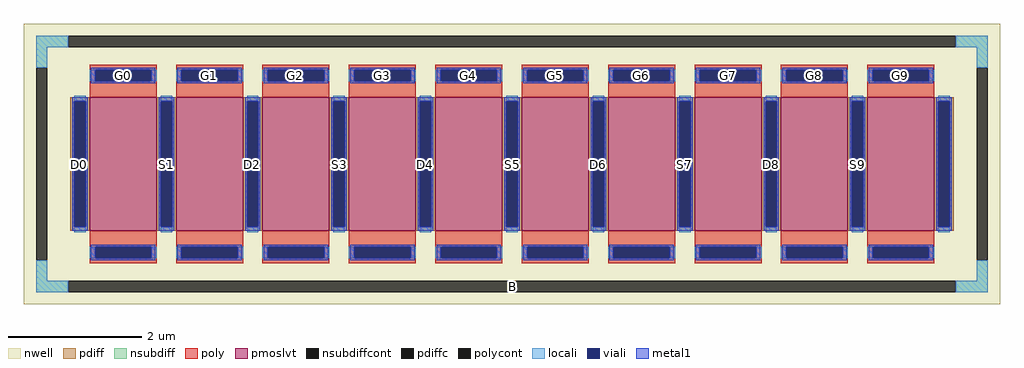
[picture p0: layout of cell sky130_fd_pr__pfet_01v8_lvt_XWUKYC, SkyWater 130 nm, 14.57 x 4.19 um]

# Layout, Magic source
magic
tech sky130A
magscale 1 2
<< nwell >>
rect -1457 -419 1457 419
<< pmoslvt >>
rect -1261 -200 -1061 200
rect -1003 -200 -803 200
rect -745 -200 -545 200
rect -487 -200 -287 200
rect -229 -200 -29 200
rect 29 -200 229 200
rect 287 -200 487 200
rect 545 -200 745 200
rect 803 -200 1003 200
rect 1061 -200 1261 200
<< pdiff >>
rect -1319 188 -1261 200
rect -1319 -188 -1307 188
rect -1273 -188 -1261 188
rect -1319 -200 -1261 -188
rect -1061 188 -1003 200
rect -1061 -188 -1049 188
rect -1015 -188 -1003 188
rect -1061 -200 -1003 -188
rect -803 188 -745 200
rect -803 -188 -791 188
rect -757 -188 -745 188
rect -803 -200 -745 -188
rect -545 188 -487 200
rect -545 -188 -533 188
rect -499 -188 -487 188
rect -545 -200 -487 -188
rect -287 188 -229 200
rect -287 -188 -275 188
rect -241 -188 -229 188
rect -287 -200 -229 -188
rect -29 188 29 200
rect -29 -188 -17 188
rect 17 -188 29 188
rect -29 -200 29 -188
rect 229 188 287 200
rect 229 -188 241 188
rect 275 -188 287 188
rect 229 -200 287 -188
rect 487 188 545 200
rect 487 -188 499 188
rect 533 -188 545 188
rect 487 -200 545 -188
rect 745 188 803 200
rect 745 -188 757 188
rect 791 -188 803 188
rect 745 -200 803 -188
rect 1003 188 1061 200
rect 1003 -188 1015 188
rect 1049 -188 1061 188
rect 1003 -200 1061 -188
rect 1261 188 1319 200
rect 1261 -188 1273 188
rect 1307 -188 1319 188
rect 1261 -200 1319 -188
<< pdiffc >>
rect -1307 -188 -1273 188
rect -1049 -188 -1015 188
rect -791 -188 -757 188
rect -533 -188 -499 188
rect -275 -188 -241 188
rect -17 -188 17 188
rect 241 -188 275 188
rect 499 -188 533 188
rect 757 -188 791 188
rect 1015 -188 1049 188
rect 1273 -188 1307 188
<< nsubdiff >>
rect -1421 349 -1325 383
rect 1325 349 1421 383
rect -1421 287 -1387 349
rect 1387 287 1421 349
rect -1421 -349 -1387 -287
rect 1387 -349 1421 -287
rect -1421 -383 -1325 -349
rect 1325 -383 1421 -349
<< nsubdiffcont >>
rect -1325 349 1325 383
rect -1421 -287 -1387 287
rect 1387 -287 1421 287
rect -1325 -383 1325 -349
<< poly >>
rect -1261 281 -1061 297
rect -1261 247 -1245 281
rect -1077 247 -1061 281
rect -1261 200 -1061 247
rect -1003 281 -803 297
rect -1003 247 -987 281
rect -819 247 -803 281
rect -1003 200 -803 247
rect -745 281 -545 297
rect -745 247 -729 281
rect -561 247 -545 281
rect -745 200 -545 247
rect -487 281 -287 297
rect -487 247 -471 281
rect -303 247 -287 281
rect -487 200 -287 247
rect -229 281 -29 297
rect -229 247 -213 281
rect -45 247 -29 281
rect -229 200 -29 247
rect 29 281 229 297
rect 29 247 45 281
rect 213 247 229 281
rect 29 200 229 247
rect 287 281 487 297
rect 287 247 303 281
rect 471 247 487 281
rect 287 200 487 247
rect 545 281 745 297
rect 545 247 561 281
rect 729 247 745 281
rect 545 200 745 247
rect 803 281 1003 297
rect 803 247 819 281
rect 987 247 1003 281
rect 803 200 1003 247
rect 1061 281 1261 297
rect 1061 247 1077 281
rect 1245 247 1261 281
rect 1061 200 1261 247
rect -1261 -247 -1061 -200
rect -1261 -281 -1245 -247
rect -1077 -281 -1061 -247
rect -1261 -297 -1061 -281
rect -1003 -247 -803 -200
rect -1003 -281 -987 -247
rect -819 -281 -803 -247
rect -1003 -297 -803 -281
rect -745 -247 -545 -200
rect -745 -281 -729 -247
rect -561 -281 -545 -247
rect -745 -297 -545 -281
rect -487 -247 -287 -200
rect -487 -281 -471 -247
rect -303 -281 -287 -247
rect -487 -297 -287 -281
rect -229 -247 -29 -200
rect -229 -281 -213 -247
rect -45 -281 -29 -247
rect -229 -297 -29 -281
rect 29 -247 229 -200
rect 29 -281 45 -247
rect 213 -281 229 -247
rect 29 -297 229 -281
rect 287 -247 487 -200
rect 287 -281 303 -247
rect 471 -281 487 -247
rect 287 -297 487 -281
rect 545 -247 745 -200
rect 545 -281 561 -247
rect 729 -281 745 -247
rect 545 -297 745 -281
rect 803 -247 1003 -200
rect 803 -281 819 -247
rect 987 -281 1003 -247
rect 803 -297 1003 -281
rect 1061 -247 1261 -200
rect 1061 -281 1077 -247
rect 1245 -281 1261 -247
rect 1061 -297 1261 -281
<< polycont >>
rect -1245 247 -1077 281
rect -987 247 -819 281
rect -729 247 -561 281
rect -471 247 -303 281
rect -213 247 -45 281
rect 45 247 213 281
rect 303 247 471 281
rect 561 247 729 281
rect 819 247 987 281
rect 1077 247 1245 281
rect -1245 -281 -1077 -247
rect -987 -281 -819 -247
rect -729 -281 -561 -247
rect -471 -281 -303 -247
rect -213 -281 -45 -247
rect 45 -281 213 -247
rect 303 -281 471 -247
rect 561 -281 729 -247
rect 819 -281 987 -247
rect 1077 -281 1245 -247
<< locali >>
rect -1421 349 -1325 383
rect 1325 349 1421 383
rect -1421 287 -1387 349
rect 1387 287 1421 349
rect -1261 247 -1245 281
rect -1077 247 -1061 281
rect -1003 247 -987 281
rect -819 247 -803 281
rect -745 247 -729 281
rect -561 247 -545 281
rect -487 247 -471 281
rect -303 247 -287 281
rect -229 247 -213 281
rect -45 247 -29 281
rect 29 247 45 281
rect 213 247 229 281
rect 287 247 303 281
rect 471 247 487 281
rect 545 247 561 281
rect 729 247 745 281
rect 803 247 819 281
rect 987 247 1003 281
rect 1061 247 1077 281
rect 1245 247 1261 281
rect -1307 188 -1273 204
rect -1307 -204 -1273 -188
rect -1049 188 -1015 204
rect -1049 -204 -1015 -188
rect -791 188 -757 204
rect -791 -204 -757 -188
rect -533 188 -499 204
rect -533 -204 -499 -188
rect -275 188 -241 204
rect -275 -204 -241 -188
rect -17 188 17 204
rect -17 -204 17 -188
rect 241 188 275 204
rect 241 -204 275 -188
rect 499 188 533 204
rect 499 -204 533 -188
rect 757 188 791 204
rect 757 -204 791 -188
rect 1015 188 1049 204
rect 1015 -204 1049 -188
rect 1273 188 1307 204
rect 1273 -204 1307 -188
rect -1261 -281 -1245 -247
rect -1077 -281 -1061 -247
rect -1003 -281 -987 -247
rect -819 -281 -803 -247
rect -745 -281 -729 -247
rect -561 -281 -545 -247
rect -487 -281 -471 -247
rect -303 -281 -287 -247
rect -229 -281 -213 -247
rect -45 -281 -29 -247
rect 29 -281 45 -247
rect 213 -281 229 -247
rect 287 -281 303 -247
rect 471 -281 487 -247
rect 545 -281 561 -247
rect 729 -281 745 -247
rect 803 -281 819 -247
rect 987 -281 1003 -247
rect 1061 -281 1077 -247
rect 1245 -281 1261 -247
rect -1421 -349 -1387 -287
rect 1387 -349 1421 -287
rect -1421 -383 -1325 -349
rect 1325 -383 1421 -349
<< viali >>
rect -1245 247 -1077 281
rect -987 247 -819 281
rect -729 247 -561 281
rect -471 247 -303 281
rect -213 247 -45 281
rect 45 247 213 281
rect 303 247 471 281
rect 561 247 729 281
rect 819 247 987 281
rect 1077 247 1245 281
rect -1307 -188 -1273 188
rect -1049 -188 -1015 188
rect -791 -188 -757 188
rect -533 -188 -499 188
rect -275 -188 -241 188
rect -17 -188 17 188
rect 241 -188 275 188
rect 499 -188 533 188
rect 757 -188 791 188
rect 1015 -188 1049 188
rect 1273 -188 1307 188
rect -1245 -281 -1077 -247
rect -987 -281 -819 -247
rect -729 -281 -561 -247
rect -471 -281 -303 -247
rect -213 -281 -45 -247
rect 45 -281 213 -247
rect 303 -281 471 -247
rect 561 -281 729 -247
rect 819 -281 987 -247
rect 1077 -281 1245 -247
<< metal1 >>
rect -1257 281 -1065 287
rect -1257 247 -1245 281
rect -1077 247 -1065 281
rect -1257 241 -1065 247
rect -999 281 -807 287
rect -999 247 -987 281
rect -819 247 -807 281
rect -999 241 -807 247
rect -741 281 -549 287
rect -741 247 -729 281
rect -561 247 -549 281
rect -741 241 -549 247
rect -483 281 -291 287
rect -483 247 -471 281
rect -303 247 -291 281
rect -483 241 -291 247
rect -225 281 -33 287
rect -225 247 -213 281
rect -45 247 -33 281
rect -225 241 -33 247
rect 33 281 225 287
rect 33 247 45 281
rect 213 247 225 281
rect 33 241 225 247
rect 291 281 483 287
rect 291 247 303 281
rect 471 247 483 281
rect 291 241 483 247
rect 549 281 741 287
rect 549 247 561 281
rect 729 247 741 281
rect 549 241 741 247
rect 807 281 999 287
rect 807 247 819 281
rect 987 247 999 281
rect 807 241 999 247
rect 1065 281 1257 287
rect 1065 247 1077 281
rect 1245 247 1257 281
rect 1065 241 1257 247
rect -1313 188 -1267 200
rect -1313 -188 -1307 188
rect -1273 -188 -1267 188
rect -1313 -200 -1267 -188
rect -1055 188 -1009 200
rect -1055 -188 -1049 188
rect -1015 -188 -1009 188
rect -1055 -200 -1009 -188
rect -797 188 -751 200
rect -797 -188 -791 188
rect -757 -188 -751 188
rect -797 -200 -751 -188
rect -539 188 -493 200
rect -539 -188 -533 188
rect -499 -188 -493 188
rect -539 -200 -493 -188
rect -281 188 -235 200
rect -281 -188 -275 188
rect -241 -188 -235 188
rect -281 -200 -235 -188
rect -23 188 23 200
rect -23 -188 -17 188
rect 17 -188 23 188
rect -23 -200 23 -188
rect 235 188 281 200
rect 235 -188 241 188
rect 275 -188 281 188
rect 235 -200 281 -188
rect 493 188 539 200
rect 493 -188 499 188
rect 533 -188 539 188
rect 493 -200 539 -188
rect 751 188 797 200
rect 751 -188 757 188
rect 791 -188 797 188
rect 751 -200 797 -188
rect 1009 188 1055 200
rect 1009 -188 1015 188
rect 1049 -188 1055 188
rect 1009 -200 1055 -188
rect 1267 188 1313 200
rect 1267 -188 1273 188
rect 1307 -188 1313 188
rect 1267 -200 1313 -188
rect -1257 -247 -1065 -241
rect -1257 -281 -1245 -247
rect -1077 -281 -1065 -247
rect -1257 -287 -1065 -281
rect -999 -247 -807 -241
rect -999 -281 -987 -247
rect -819 -281 -807 -247
rect -999 -287 -807 -281
rect -741 -247 -549 -241
rect -741 -281 -729 -247
rect -561 -281 -549 -247
rect -741 -287 -549 -281
rect -483 -247 -291 -241
rect -483 -281 -471 -247
rect -303 -281 -291 -247
rect -483 -287 -291 -281
rect -225 -247 -33 -241
rect -225 -281 -213 -247
rect -45 -281 -33 -247
rect -225 -287 -33 -281
rect 33 -247 225 -241
rect 33 -281 45 -247
rect 213 -281 225 -247
rect 33 -287 225 -281
rect 291 -247 483 -241
rect 291 -281 303 -247
rect 471 -281 483 -247
rect 291 -287 483 -281
rect 549 -247 741 -241
rect 549 -281 561 -247
rect 729 -281 741 -247
rect 549 -287 741 -281
rect 807 -247 999 -241
rect 807 -281 819 -247
rect 987 -281 999 -247
rect 807 -287 999 -281
rect 1065 -247 1257 -241
rect 1065 -281 1077 -247
rect 1245 -281 1257 -247
rect 1065 -287 1257 -281
<< labels >>
rlabel nsubdiffcont 0 -366 0 -366 0 B
port 1 nsew
rlabel pdiffc -1290 0 -1290 0 0 D0
port 2 nsew
rlabel polycont -1161 264 -1161 264 0 G0
port 3 nsew
rlabel pdiffc -1032 0 -1032 0 0 S1
port 4 nsew
rlabel polycont -903 264 -903 264 0 G1
port 5 nsew
rlabel pdiffc -774 0 -774 0 0 D2
port 6 nsew
rlabel polycont -645 264 -645 264 0 G2
port 7 nsew
rlabel pdiffc -516 0 -516 0 0 S3
port 8 nsew
rlabel polycont -387 264 -387 264 0 G3
port 9 nsew
rlabel pdiffc -258 0 -258 0 0 D4
port 10 nsew
rlabel polycont -129 264 -129 264 0 G4
port 11 nsew
rlabel pdiffc 0 0 0 0 0 S5
port 12 nsew
rlabel polycont 129 264 129 264 0 G5
port 13 nsew
rlabel pdiffc 258 0 258 0 0 D6
port 14 nsew
rlabel polycont 387 264 387 264 0 G6
port 15 nsew
rlabel pdiffc 516 0 516 0 0 S7
port 16 nsew
rlabel polycont 645 264 645 264 0 G7
port 17 nsew
rlabel pdiffc 774 0 774 0 0 D8
port 18 nsew
rlabel polycont 903 264 903 264 0 G8
port 19 nsew
rlabel pdiffc 1032 0 1032 0 0 S9
port 20 nsew
rlabel polycont 1161 264 1161 264 0 G9
port 21 nsew
<< properties >>
string FIXED_BBOX -1404 -366 1404 366
string gencell sky130_fd_pr__pfet_01v8_lvt
string library sky130
string parameters w 2 l 1 m 1 nf 10 diffcov 100 polycov 100 guard 1 glc 1 grc 1 gtc 1 gbc 1 tbcov 100 rlcov 100 topc 1 botc 1 poverlap 0 doverlap 1 lmin 0.35 wmin 0.42 class mosfet compatible {sky130_fd_pr__pfet_01v8  sky130_fd_pr__pfet_01v8_lvt sky130_fd_pr__pfet_01v8_hvt  sky130_fd_pr__pfet_g5v0d10v5} full_metal 1 conn_gates 0 viasrc 100 viadrn 100 viagate 100 viagb 0 viagr 0 viagl 0 viagt 0 doports 1
<< end >>
